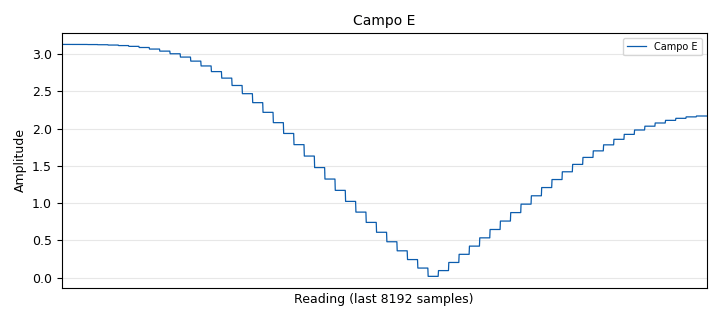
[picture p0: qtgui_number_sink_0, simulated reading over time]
options:
  parameters:
    generate_options: qt_gui
    id: arraygeneral
    output_language: python
    title: arraygeneral
  states: {}

blocks:
- name: Rmax
  id: variable
  parameters:
    value: len(posiciones)/2
  states: {}
- name: excitaciones
  id: variable
  parameters:
    value: w_magnitudes*np.exp(1j*w_fases)
  states: {}
- name: patrones
  id: variable
  parameters:
    value: '[antenna_tools.patronDipoloMediaOnda]'
  states: {state: disabled}
- name: patrones
  id: variable
  parameters:
    value: '[antenna_tools.patronMonopoloCuartoOnda]'
  states: {state: disabled}
- name: patrones
  id: variable
  parameters:
    value: None
  states: {}
- name: phi_apuntar_gr
  id: variable
  parameters:
    value: '0'
  states: {}
- name: po
  id: variable
  parameters:
    value: ruta3d.receiver_path(128)
  states: {}
- name: posiciones
  id: variable
  parameters:
    value: antenna_tools.posiciones_arreglo_planar(4,4,0.4)
  states: {state: disabled}
- name: posiciones
  id: variable
  parameters:
    value: antenna_tools.posiciones_arreglo_esferico(4,4,0.4)
  states: {state: disabled}
- name: posiciones
  id: variable
  parameters:
    value: antenna_tools.posiciones_arreglo_cilindro(4,4,0.4)
  states: {state: disabled}
- name: posiciones
  id: variable
  parameters:
    value: antenna_tools.posiciones_arreglo_linealz(4,0.4)
  states: {}
- name: samp_rate
  id: variable
  parameters:
    value: '32000'
  states: {}
- name: theta_apuntar_gr
  id: variable
  parameters:
    value: '0'
  states: {}
- name: w_fases
  id: variable
  parameters:
    value: antenna_tools.calcularFasesApuntamiento(phi_apuntar_gr*np.pi/180,theta_apuntar_gr*np.pi/180, posiciones)
  states: {}
- name: w_magnitudes
  id: variable
  parameters:
    value: np.array([1]*N)
  states: {state: disabled}
- name: w_magnitudes
  id: variable
  parameters:
    value: antenna_tools.amplitudCosElev(posiciones)
  states: {}
- name: analog_const_source_x_0
  id: analog_const_source_x
  parameters:
    const: '1'
    type: complex
  states: {}
- name: antenna_tools
  id: epy_module
  parameters:
    source_code: |
      # Aqui se reunen una serie de funciones que puede ser de utilidad en la definicion o configuracion de arreglos de antenas

      import numpy as np

      ###############################################################################
      ##     Funciones utiles para el direcionamiento del patron del arreglo       ##
      ###############################################################################
      # Para apuntar el patron de un arreglo a una direccion phi,theta, es necesario conocer las fases
      # de con las que se debe alimentar a los radiadores. Para eso se usa la funcion calcularFasesApuntamiento()
      # de la siguiente manera:
      # * Llama esta funcion por ejemplo asi:w_apuntar=calcularFasesApuntamiento(phi,theta,posiciones)
      # * ve a tu arreglo y muliplica las exitaciones por w_apuntar
      # Nota: la version del profe Binomi se diferencia de esta en que entrega las exponenciales complejas
      # nos pareció más claro para ususario que se entregen las fases solamente.
      def calcularFasesApuntamiento(phi,theta, posiciones):
          normal = np.array((np.cos(phi)*np.sin(theta),np.sin(phi)*np.sin(theta),np.cos(theta)))
          fases = -2*np.pi*posiciones@normal
          return fases
          
      ###############################################################################
      ##                 Funciones utiles para las aperturas                       ##
      ###############################################################################
      def amplitudCosElev(posiciones,escala=0.8):
          centro = np.mean(posiciones,axis=0)
          desplazamientos = posiciones-centro
          radios = np.linalg.norm(desplazamientos,axis=1)
          rmax=np.max(radios)
          A = 1+np.cos(np.pi*escala*radios/rmax)
          return A/np.linalg.norm(A)*A.size**.5
          
      #distintos patrones de radiacion para elementos. Ver ejemplo de arreglo lineal abajo para su uso
      ###############################################################################
      ##     Patrones de radiacion que pueden ser usados en los radiadores         ##
      ###############################################################################

      def patron1():
          # Patron arbitrario generado a partir de tabla
          if ("patron" not in dir(patron1)):
              angulosTheta = np.array([0,30,60,90,120,150,180])*np.pi/180
              intensidadesRel = np.array([1e-3,1,1.2,2,.3,.1,0])
              f_denorm = interp.interp1d(angulosTheta,intensidadesRel,kind="cubic")
              # potenciaMedia = integrate.dblquad(lambda fi,th: f_denorm(th)**2*np.sin(th),0,np.pi,-np.pi,np.pi)[0]/(4*np.pi)
              # Por haber simetria respecto al eje z, la integral se reduce a
              potenciaMedia = integrate.quad(lambda th: f_denorm(th)**2*np.sin(th),0,np.pi)[0]/2
              escala = 1/potenciaMedia**.5 # para normalizar a potencia media 1
              def patron(phi,theta):
                  return escala*f_denorm(theta)
              patron1.patron = patron
          return patron1.patron

      def patronDipoloCorto():
          if ("patron" not in dir(patronDipoloCorto)):
              f_denorm = np.sin
              #simetria axial, eje z
              potenciaMedia = integrate.quad(lambda th: f_denorm(th)**2*np.sin(th),0,np.pi)[0]/2
              escala = 1/potenciaMedia**.5 # para normalizar a potencia media 1
              def patron(phi,theta):
                  return escala*f_denorm(theta)
              patronDipoloCorto.patron = patron
          return patronDipoloCorto.patron
      def patronDipoloMediaOnda():
          self = patronDipoloCorto
          if ("patron" not in dir(self)):
              epsilon = 1e-6
              def f_denorm(theta):
                  theta=np.array(theta)
                  determinado = (theta > epsilon) & ((np.pi-theta) > epsilon)
                  result = np.zeros(theta.shape)
                  theta_determinado = theta[determinado]
                  result[determinado] = np.cos(np.pi/2*np.cos(theta_determinado))/np.sin(theta_determinado) 
                  return result
              #simetria axial, eje z
              potenciaMedia = integrate.quad(lambda th: f_denorm(th)**2*np.sin(th),0,np.pi)[0]/2
              escala = 1/potenciaMedia**.5 # para normalizar a potencia media 1
              def patron(phi,theta):
                  return escala*f_denorm(theta)
              self.patron = patron
          return self.patron
      def patronMonopoloCuartoOnda():
          self = patronMonopoloCuartoOnda
          if ("patron" not in dir(self)):
              epsilon = 1e-6
              def f_denorm(theta):
                  theta=np.array(theta)
                  determinado = (theta > epsilon) & (theta <= np.pi/2)
                  result = np.zeros(theta.shape)
                  theta_determinado = theta[determinado]
                  result[determinado] = np.cos(np.pi/2*np.cos(theta_determinado))/np.sin(theta_determinado) 
                  return result
              #simetria axial, eje z
              potenciaMedia = integrate.quad(lambda th: f_denorm(th)**2*np.sin(th),0,np.pi)[0]/2
              escala = 1/potenciaMedia**.5 # para normalizar a potencia media 1
              def patron(phi,theta):
                  return escala*f_denorm(theta)
              self.patron = patron
          return self.patron

      ##################################################################
      ##   Varias configuraciones de posiciones para arreglos         ##
      ##################################################################
      #     Arreglo planar
      # permite obtener las posiciones para un arreglo planar
      # organizado de manera que vemos Nx filas y Ny columnas
      # de manera que hay N=Nx x Ny radiadores y todos están distanciados
      # de sus vecinos en una distand D x lambda
      # las posiciones se entregan en forma de un vector de N elementos.

      def posiciones_arreglo_planar(Nx,Ny, D):
          return D*np.array([(x,y,0) for x in range(Nx) for y in range(Ny)])
          
      def posiciones_arreglo_esferico(Nx,Ny,D):
          cx=(Nx-1)/2
          cy=(Ny-1)/2
          return D*np.array([(x,y,np.sqrt(2*max(cx,cy)**2-(x-cx)**2-(y-cy)**2)) for x in range(Nx) for y in range(Ny)])

      def posiciones_arreglo_cilindro(Nx,Ny,D):
          cx = (Nx-1)/2
          return D*np.array([(x,y,np.sqrt(2*cx**2-(x-cx)**2)) for x in range(Nx) for y in range(Ny)])

      def posiciones_arreglo_linealz(Nz,Dz):
          return Dz*np.array([(0,0,z) for z in range(Nz)])    
  states: {}
- name: blocks_complex_to_mag_0
  id: blocks_complex_to_mag
  parameters: {}
  states: {}
- name: blocks_stream_to_vector_0
  id: blocks_stream_to_vector
  parameters:
    num_items: po.L_path
    type: float
  states: {}
- name: blocks_throttle_0_0_0
  id: blocks_throttle
  parameters:
    samples_per_second: samp_rate
    type: complex
  states: {}
- name: blocks_vector_source_x_0
  id: blocks_vector_source_x
  parameters:
    repeat: 'False'
    type: float
    vector: po.phi_path()
  states: {}
- name: blocks_vector_source_x_0_0
  id: blocks_vector_source_x
  parameters:
    repeat: 'False'
    type: float
    vector: po.theta_path()
  states: {}
- name: blocks_vector_to_stream_0
  id: blocks_vector_to_stream
  parameters:
    num_items: po.L_path
    type: float
  states: {}
- name: epy_block_0
  id: epy_block
  parameters:
    _source_code: "\nimport numpy as np\nfrom gnuradio import gr\n\n\nclass blk(gr.sync_block):  # other base classes are basic_block, decim_block, interp_block\n    \"\"\"Hecho por Homero Ortega Boada con la tutoria y de Fernando Alberto Miranda Binomi.\n   Arreglo tridimensional de fuentes puntuales con radiadores isotropicos.\n\n   Parametros y senales:\n   * Por In0 entra la envolvente compleja de la senal a ser transmitida.\n   * Por In1 y In2 llega la posicion actual del receptor en coordenadas esfericas. In1 para phi, In2 para theta\n   * La salida es la senal que entra por In0 pero afectada por su paso atraves del arreglo\n   * posiciones: es un vector de longitud N, el cual contiene las posiciones en el espacio 3d de los N radiadores que componen el arreglo. Solo hay que tener en cuenta que cada posicion consta de 3 elementos que representan las coordenadas x,y,x. Por eso, desde el punto de vista de todos los datos, \"posiciones\" es una matrix N x 3\n   * excitaciones: Es el vector de longitud N que contiene las exitaciones para cada uno de los N radiadores. Usualmente esos valores son coplejos, donde la magnitud impacta a la apertura del arreglo, mientras que las fases impactan la direccionalidad del patron. Si no se desea impactar nada de eso, las excitaciones puede ser un vector de puros unos.\n   \n   Nota: es posible usar este bloque para obtener el patron del arreglo teniendo en cuenta lo siguiente:\n   * se senal en In0 puede ser igual a 1, pero solo para mejorar la velocidad del calculo\n   * las senales In1, In2 deben representar la ruta, en angulos phi, theta, que el receptor realiza, como si se tratara de un drone que va volando al rededor del arreglo mientras mide el campo, hasta cubrir todos esos angulos.   \n   \n   Nota para disenadores: este bloque es una evolucion del bloque e_array_general_cc con el fin de lograr soluciones mas modulares y mas sencillas, de manera mas acorde con la vision de GNU Radio. La simplicidad se logron teniendo en cuenta que hay varias cosas que pueden ser realizadas por otros bloques externos, entres esas cosas estan:\n   * En la practica los radiadores son casi siempre de patron similar, En ese caso, un bloque externo puede hacer el ajuste correspondiente para considerar la forma de ese patron.\n   * La directividad y la densidad de potencia. Son parametros que son mas del interes de un sistema de medicion que de un sistema de tiempo real.  \n    \"\"\"\n\n    def __init__(self, posiciones=0,excitaciones=1):  \n        gr.sync_block.__init__(\n            self,\n            name='e_array_iso_cc',   \n            in_sig=[np.complex64, np.float32, np.float32],\n            out_sig=[np.complex64]\n        )\n        self.posiciones = posiciones\n        self.excitaciones = excitaciones\n        \n    def _campo_dirUnica(self,phi_i,theta_i):\n        normal = np.array((np.cos(phi_i)*np.sin(theta_i),np.sin(phi_i)*np.sin(theta_i),np.cos(theta_i)))\n        fases = 2*np.pi*self.posiciones@normal\n        return sum(self.excitaciones*np.exp(1j*fases))\n \n    def campo(self,phi,theta):\n        campo_vec = np.vectorize(self._campo_dirUnica)\n        return campo_vec(phi,theta)\n        \n    def work(self, input_items, output_items):\n        s=input_items[0]\n        theta=input_items[2]\n        phi=input_items[1]\n        e=self.campo(phi,theta)\n        \n        output_items[0][:] = self.campo(phi,theta)\n        return len(output_items[0])\n"
    excitaciones: excitaciones
    posiciones: posiciones
  states: {}
- name: epy_block_0_1_0_0
  id: epy_block
  parameters:
    Rmax: Rmax
    _source_code: |
      from mpl_toolkits import mplot3d
      import numpy as np
      from gnuradio import gr
      import matplotlib.pyplot as plt

      class polar_graf_f(gr.sync_block):
          """
          Grafica polar, pero los valores a graficar estan dados por la senal de magnitud entrante y el parametro angular theta. Hecho por Homero Ortega Boada. Universida Industrial de Santander.
      Hecho con el fin de graficar cosas comos patron de radiacion de una antena, aunque inicialmente se inspiró en el visor de constelaciones. Rmax sirve para definir los limites de la grafica"""
          def __init__(self,samp_rate=32000, Rmax=8):
              gr.sync_block.__init__(self,
                  name="e_polar_graf_3d_p_f",
                  in_sig=[np.float32]*3,
                  out_sig=None)

              #########################################
              ##        Parametros                   ##
              #########################################
              self.Tsamp=1./samp_rate
              self.Rmax=Rmax
              self.contador=0
              #self.fig=0
              #self.ax=0

          # Canvas grafica la plantilla sobre la que se posecionara la grafica 3d
          def canvas_3d(self, Rmax, nombre):
              fig=plt.figure()
              ax=fig.add_subplot(111, projection='3d')
              ax.set_xlim(-Rmax,Rmax)
              ax.set_ylim(-Rmax,Rmax)
              ax.set_zlim(-Rmax,Rmax)
              ax.set_xlabel('x')
              ax.set_ylabel('y')
              ax.set_zlabel('z')
              ax.set_title(nombre)
              return ax

          # Traduccion de coordenadas esfericas a cartecianas
          def esferica2cartesiana(self,phi,theta,R):
              x = R * np.cos(phi) * np.sin(theta)
              y = R * np.sin(phi) * np.sin(theta)
              z = R * np.cos(theta)
              return(x,y,z)                                   

          def work(self, input_items, output_items):
              R_path=input_items[0]
              theta_path=input_items[2]
              phi_path=input_items[1]
              x,y,z=self.esferica2cartesiana(phi_path,theta_path,R_path)
              
              if self.contador == 0:
                 self.contador=1
                 ax=self.canvas_3d(self.Rmax, 'Patron 3d')
                     
              ax.plot(x,y,z, color="blue")
              #ax.scatter(x,y,z, c='y', marker='o')
              plt.pause(self.Tsamp)
              #plt.show()
              #plt.clf() # esto limpia la grafica
              return len(input_items[0])
    alias: yoo
    samp_rate: samp_rate
  states: {state: disabled}
- name: epy_block_0_1_0_0_0
  id: epy_block
  parameters:
    _source_code: |
      from mpl_toolkits import mplot3d
      import numpy as np
      from gnuradio import gr
      import matplotlib.pyplot as plt

      class polar_graf_f(gr.sync_block):
          """
      Hecho por Homero Ortega Boada. Universidad Industrial de Santander.
      Permite mostrar las graficas más relevantes para un arreglo de antenas como:
      * La distribución en 3d de los componentes del arreglo con su respectiva alimentación
      * Las alimentaciones que cada componente (radiador) tiene.
      * grafica polar del patron de arreglo con coordenadas esfericas. Las graficas las hacemos con herramientas externas a GNU Radio ya que al momento no sabiamos como hacerlo de otra manera. Los parametros de entrada son:

      * samp_rate: es la frecuencia de muestreo en Hz que nunca falta en GNURadio. Influye en la velocidad de la grafica, supuestamente se los valores de medicion del  campo llegan con esa rata
      * Rmax sirve para definir los limites de la grafica, se supone que es el máximo valor que puede llegar a tomar el campo en magnitud
      * phi: son los valores unicos usados en la grafica para phi. Usualmente phi es un vector de valores entre 0 y 2pi con un cierto paso angular
      theta: son los valores unicos usados en la grafica. Usualmente phi es un vector de valores entre 0 y pi con el mismo paso angular que phi. De manera que este vector tiene 2 veces menos valores que phi
      * posiciones: vector que contiene la posicion de cada uno de los componentes del arreglo
      * excitaciones: vector que contiene la alimentacion para cada uno de los componentes del arreglo
      * La senal que entra al bloque corresponde a las mediciones de campo realizadas  para todos los posibles ubicaciones angulares que se puede lograr con las combinaciones de phi y theta

      Nota: Por ahora no hemos pretendido que el patron se pueda redibujar en tiempo real para nuevas situaciones. Ppor ejemplo, que si en cierto momento cambia la alimentacion de los elementos de radiacion que entonces el patron se redibuje adotando la nueva forma. Si queremos lograr eso, es posible que haya que hacer unas ligeras modidificaciones a la funcione que grafica, para que, cada vez que dibuje un nuevo patron previamente borre el anterior. Quiza tambien haya que quitar el plt.show() 

      Retos para mejorar: es mas natural que el bloque pueda identifcar phi y theta a partir de las senals que aporta la ruta, es decir, usando las mismas senales que usa el bloque e_polar_graf_3d_p_f
      """
          def __init__(self,samp_rate=32000,phi=0,theta=0, posiciones=0, excitaciones=0):
              gr.sync_block.__init__(self,
                  name="e_antenna_graf_f",
                  in_sig=[np.float32],
                  out_sig=None)
                  
              # Parametros                   
              self.Tsamp=1./samp_rate
              self.contador=0
              self.phi=phi
              self.theta=theta
              self.posiciones=posiciones
              self.excitaciones=excitaciones
              
          # Canvas grafica la plantilla sobre la que se posicionara la grafica 3d
          def canvas_3d(self, Rmax):
              # Rmax: es el mayor valor de magnitude de campo E
              fig=plt.figure()
              
              ax1=fig.add_subplot(2,1,1, projection='3d')
              ax1.set_title("El Arreglo-sus elementos y alimentacion")
              ax2=fig.add_subplot(2,1,2, projection='3d')
              ax2.set_xlim(-Rmax,Rmax)
              ax2.set_ylim(-Rmax,Rmax)
              ax2.set_zlim(-Rmax,Rmax)
              ax2.set_xlabel('x')
              ax2.set_ylabel('y')
              ax2.set_zlabel('z')
              ax2.set_title("Patron de radiacion del arreglo")
                     
              return ax1, ax2

          # Traduccion de coordenadas esfericas a cartecianas
          def esferica2cartesiana(self,phi,theta,R):
              x = R * np.cos(phi) * np.sin(theta)
              y = R * np.sin(phi) * np.sin(theta)
              z = R * np.cos(theta)
              return(x,y,z)                                   

          def graficaExcitaciones(self,ax=None):
              
              def sep_xyz(filas_xyz):
                  return (filas_xyz[:,0],filas_xyz[:,1],filas_xyz[:,2])
                      
              pmin=self.posiciones.min()
              pmax=self.posiciones.max()
              lims = (pmin-(pmax-pmin)*.1,pmax+(pmax-pmin)*.1)

              ax.plot3D(*sep_xyz(self.posiciones),'or')
              Emax=np.abs(self.excitaciones).max()
              if self.posiciones.shape[0]>1:
                  dmin=min((np.linalg.norm(x-y) for x in self.posiciones for y in self.posiciones if np.linalg.norm(x-y) >0))
                  factor = .618*dmin/Emax
              else:
                  factor = 1
                  lims = (-1,1)
              ax.quiver(*sep_xyz(self.posiciones),self.excitaciones.real*factor,self.excitaciones.imag*factor,np.zeros(self.excitaciones.shape))
              ax.set_xlim(*lims)
              ax.set_ylim(*lims)
              ax.set_zlim(*lims)
              
          def work(self, input_items, output_items):
              # Inicialmente se deben crear 3 matrices de NringsxNang:
              # * PHI
              # * THETA
              # * R
              # Nrings: es el numero de filasy equivale al numero de anillos en la graf 3d
              # Nang: es el numero de columnas y a la vez de puntos por cada anillo de la graf 3d
              R_path=input_items[0] 
              Nang=len(self.phi) 
              Nrings=len(self.theta)
              PHI,THETA=np.meshgrid(self.phi,self.theta)
              R=R_path.reshape(Nrings,Nang)
              Rmax=np.max(R)
              X,Y,Z=self.esferica2cartesiana(PHI,THETA,R)
              
              # El if  es porque el canva solo se dibuna una vez y no hemos logrado que se haga
              # dentro del constructor.
              if self.contador == 0:
                  self.contador=1
                  # definimos el canvas por una unica vez
                  ax1,ax2=self.canvas_3d(Rmax)
                  # hacemos las graficas que no se repiten
                  self.graficaExcitaciones(ax1)
              # Finalmente se ordena la grafica de los valores en X,Y,Z       
              #ax2.plot_wireframe(X,Y,Z)
              #plt.clr()
              ax2.plot_surface(X,Y,Z,cmap="coolwarm")
              plt.show()
              plt.pause(self.Tsamp)
              ax2.cla()
              
              return len(input_items[0])
    alias: 3d_f
    excitaciones: excitaciones
    phi: po.phi
    posiciones: posiciones
    samp_rate: samp_rate
    theta: po.theta
  states: {}
- name: import_0
  id: import
  parameters:
    imports: import numpy as np
  states: {}
- name: qtgui_number_sink_0
  id: qtgui_number_sink
  parameters:
    graph_type: qtgui.NUM_GRAPH_HORIZ
    gui_hint: 2,0,1,1
    label1: Campo E
    max: Rmax
    min: '0'
    name: '"Campo E"'
    type: float
  states: {}
- name: ruta3d
  id: epy_module
  parameters:
    source_code: "# Lo que hace este programa es lo siguiente:\n# * calcula todos los valores angulares en los que un\n# receptor se debe ubicar con el fin de poder \n# medir todos los valores de campo y con todo eso\n# poder graficar el patron de radiacion en 3d\n# * A diferencia de lo que se hace en la programacion\n# tradicional, donde se dice que phi tiene unos valore\n# entre 0 y 360 grados y theta entre 0 y 180, aqui, por usar\n# programacion de tiempo real hay que imaginar que tomamos un dron\n# y le pre-programos toda la ruta que hay que seguir para \n# sea posible obtener todos los datos del patron de radiacion\n# de un arreglo\n#\n# Como se usa:\n# * supongamos que Ud desea que la ruta se haga que tenga Nang=128 puntos angulares por cada anilo\n# Entonces crea el objeto po=receiver_path(128) . Nota Nang debe ser tipo 2 a la m\n# * puede obtener los valores unicos de phi como po.phi\n# * los de theta como po.theta\n# * los valores que phi para toda la ruta como po.phi_path()\n# * los valores que theta para toda la ruta como po.theta_path()\n# * tambien se puede acceder al numero de anillos que la grafica\n# tendra en el eje z como po.Nrings\n# * igualmente, el numero de puntos de cada anillo po.Nang\n# * y el numero de puntos de toda la ruta po.L_path\n\nimport numpy as np\n\ndef zerooh(x,Sps):\n    Lx=len(x)\n    g=np.array([x[0]]*Sps)\n    for i in range(1,Lx):\n        g=np.concatenate((g,np.array([x[i]]*Sps)))\n    return g\n\nclass receiver_path(object):\n    def __init__(self, Nang):\n        self.Nang=Nang\n        self.Nrings=int(Nang/2)\n        self.pasoAngular=360/Nang\n        self.L_path=Nang*self.Nrings\n        self.phi=np.linspace(0,360-self.pasoAngular,Nang)*np.pi/180\n        self.theta=np.linspace(0,180-self.pasoAngular,self.Nrings)*np.pi/180\n      \n    # calculo de los valores de phi para todo el recorrido            \n    def phi_path(self,):\n        return(np.tile(self.phi, self.Nrings))\n\n    # calculo de los valores de theta para todo el recorrido\n    def theta_path(self,):\n        return(zerooh(self.theta,self.Nang))\n\n\n"
  states: {}
- name: virtual_sink_0
  id: virtual_sink
  parameters:
    stream_id: out1
  states: {}
- name: virtual_sink_1
  id: virtual_sink
  parameters:
    stream_id: out2
  states: {}
- name: virtual_sink_1_0
  id: virtual_sink
  parameters:
    stream_id: out3
  states: {}
- name: virtual_source_0
  id: virtual_source
  parameters:
    stream_id: out1
  states: {}
- name: virtual_source_1
  id: virtual_source
  parameters:
    stream_id: out2
  states: {state: disabled}
- name: virtual_source_1_0
  id: virtual_source
  parameters:
    stream_id: out3
  states: {state: disabled}

connections:
- [analog_const_source_x_0, '0', epy_block_0, '0']
- [blocks_complex_to_mag_0, '0', blocks_stream_to_vector_0, '0']
- [blocks_stream_to_vector_0, '0', blocks_vector_to_stream_0, '0']
- [blocks_throttle_0_0_0, '0', virtual_sink_0, '0']
- [blocks_vector_source_x_0, '0', epy_block_0, '1']
- [blocks_vector_source_x_0, '0', virtual_sink_1, '0']
- [blocks_vector_source_x_0_0, '0', epy_block_0, '2']
- [blocks_vector_source_x_0_0, '0', virtual_sink_1_0, '0']
- [blocks_vector_to_stream_0, '0', epy_block_0_1_0_0_0, '0']
- [blocks_vector_to_stream_0, '0', qtgui_number_sink_0, '0']
- [epy_block_0, '0', blocks_throttle_0_0_0, '0']
- [virtual_source_0, '0', blocks_complex_to_mag_0, '0']
- [virtual_source_1, '0', epy_block_0_1_0_0, '1']
- [virtual_source_1_0, '0', epy_block_0_1_0_0, '2']

metadata:
  file_format: 1
